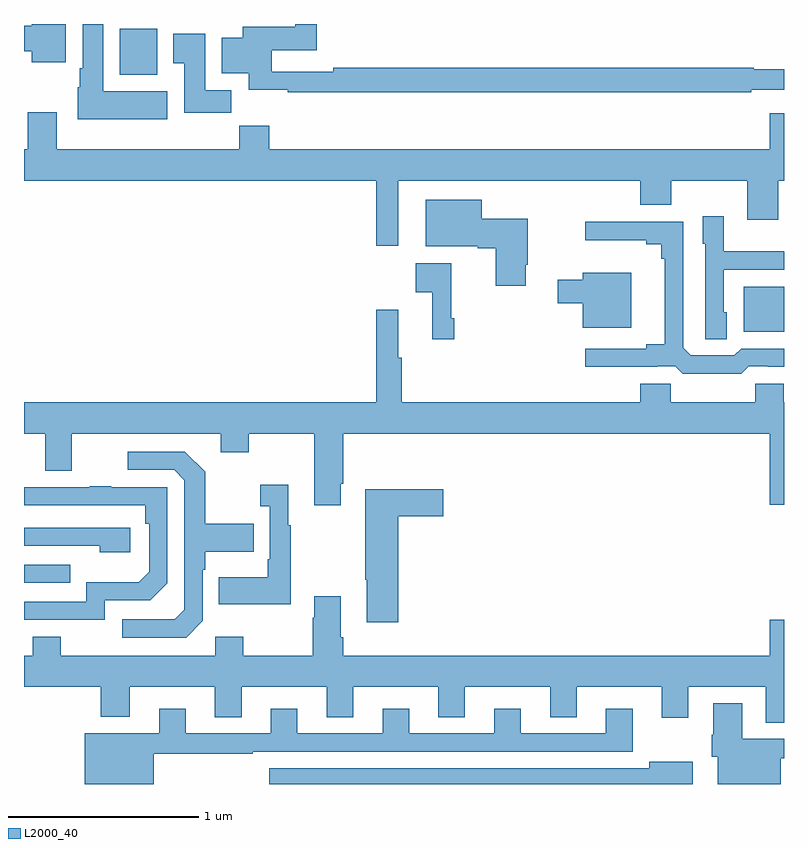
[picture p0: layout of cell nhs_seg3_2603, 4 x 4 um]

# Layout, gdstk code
import gdstk
lib = gdstk.Library(unit=1e-6, precision=1e-09)
def R(c, l, rs):  # rectangles x0, y0, x1, y1
    for r in rs: c.add(gdstk.rectangle(r[:2], r[2:], *l))
def P(c, l, *ps):  # polygons
    for p in ps: c.add(gdstk.Polygon(p, *l))
L2000_40 = (2000, 40)

nhs_seg3_2603 = lib.new_cell('nhs_seg3_2603')
R(nhs_seg3_2603, L2000_40, [(245,705.459,245.243,705.555), (248.789,706.781,249,707.017), (245.504,708.134,245.701,708.376)])
P(nhs_seg3_2603, L2000_40, [(245.221,708.4),(245.042,708.4),(245.042,708.392),(245,708.392),(245,708.256),(245.042,708.256),(245.042,708.2),(245.221,708.2)],
  [(245.755,708.046),(245.416,708.046),(245.416,708.4),(245.309,708.4),(245.309,708.166),(245.294,708.166),(245.294,708.066),(245.282,708.066),(245.282,707.9),(245.755,707.9)],
  [(248.828,708.054),(249,708.054),(249,708.163),(248.842,708.163),(248.842,708.17),(246.628,708.17),(246.628,708.15),(246.305,708.15),(246.305,708.263),(246.541,708.263),(246.541,708.398),(246.428,708.398),(246.428,708.385),(246.152,708.385),(246.152,708.328),(246.041,708.328),(246.041,708.14),(246.182,708.14),(246.182,708.053),(246.388,708.053),(246.388,708.042),(248.828,708.042)],
  [(246.092,708.052),(245.953,708.052),(245.953,708.349),(245.786,708.349),(245.786,708.193),(245.843,708.193),(245.843,707.934),(246.092,707.934)],
  [(246.97,707.576),(248.243,707.576),(248.243,707.448),(248.407,707.448),(248.407,707.576),(248.807,707.576),(248.807,707.37),(248.971,707.37),(248.971,707.576),(249,707.576),(249,707.929),(248.924,707.929),(248.924,707.74),(246.29,707.74),(246.29,707.864),(246.133,707.864),(246.133,707.74),(245.173,707.74),(245.173,707.935),(245.021,707.935),(245.021,707.74),(245,707.74),(245,707.576),(246.853,707.576),(246.853,707.232),(246.97,707.232)],
  [(247.642,707.134),(247.65,707.134),(247.65,707.374),(247.408,707.374),(247.408,707.476),(247.115,707.476),(247.115,707.231),(247.388,707.231),(247.388,707.219),(247.484,707.219),(247.484,707.022),(247.642,707.022)],
  [(248.698,706.884),(248.682,706.884),(248.682,707.106),(249,707.106),(249,707.202),(248.999,707.202),(248.999,707.203),(248.682,707.203),(248.682,707.389),(248.573,707.389),(248.573,707.244),(248.586,707.244),(248.586,706.741),(248.698,706.741)],
  [(248.814,706.599),(248.914,706.599),(248.914,706.595),(249,706.595),(249,706.692),(248.775,706.692),(248.739,706.656),(248.508,706.656),(248.469,706.695),(248.469,707.358),(247.953,707.358),(247.953,707.261),(248.276,707.261),(248.276,707.242),(248.353,707.242),(248.353,707.165),(248.372,707.165),(248.372,706.715),(248.276,706.715),(248.276,706.692),(247.953,706.692),(247.953,706.595),(248.333,706.595),(248.333,706.599),(248.427,706.599),(248.467,706.56),(248.775,706.56)],
  [(247.265,706.852),(247.248,706.852),(247.248,707.14),(247.062,707.14),(247.062,706.988),(247.148,706.988),(247.148,706.74),(247.265,706.74)],
  [(248.197,707.092),(247.94,707.092),(247.94,707.053),(247.809,707.053),(247.809,706.931),(247.94,706.931),(247.94,706.802),(248.197,706.802)],
  [(246.667,705.979),(246.68,705.979),(246.68,706.244),(248.924,706.244),(248.924,705.87),(249,705.87),(249,706.408),(248.998,706.408),(248.998,706.506),(248.848,706.506),(248.848,706.408),(248.403,706.408),(248.403,706.506),(248.243,706.506),(248.243,706.408),(246.989,706.408),(246.989,706.644),(246.971,706.644),(246.971,706.897),(246.853,706.897),(246.853,706.408),(245,706.408),(245,706.244),(245.111,706.244),(245.111,706.05),(245.251,706.05),(245.251,706.244),(246.035,706.244),(246.035,706.145),(246.183,706.145),(246.183,706.244),(246.527,706.244),(246.527,705.867),(246.667,705.867)],
  [(245.94,705.258),(245.94,705.527),(245.953,705.527),(245.953,705.623),(246.209,705.623),(246.209,705.771),(245.953,705.771),(245.953,706.043),(245.847,706.149),(245.547,706.149),(245.547,706.053),(245.79,706.053),(245.844,705.999),(245.844,705.318),(245.793,705.267),(245.517,705.267),(245.517,705.171),(245.853,705.171)],
  [(246.403,705.763),(246.391,705.763),(246.391,705.976),(246.243,705.976),(246.243,705.863),(246.294,705.863),(246.294,705.583),(246.282,705.583),(246.282,705.487),(246.025,705.487),(246.025,705.347),(246.403,705.347)],
  [(245.424,705.366),(245.664,705.366),(245.754,705.456),(245.754,705.963),(245.459,705.963),(245.459,705.968),(245.347,705.968),(245.347,705.963),(245,705.963),(245,705.867),(245.638,705.867),(245.638,705.77),(245.658,705.77),(245.658,705.516),(245.605,705.463),(245.328,705.463),(245.328,705.36),(245,705.36),(245,705.264),(245.424,705.264)],
  [(246.971,705.809),(247.207,705.809),(247.207,705.951),(246.796,705.951),(246.796,705.475),(246.803,705.475),(246.803,705.252),(246.971,705.252)],
  [(245.56,705.75),(245,705.75),(245,705.654),(245.399,705.654),(245.399,705.62),(245.56,705.62)],
  [(249,705.265),(248.924,705.265),(248.924,705.076),(246.68,705.076),(246.68,705.172),(246.667,705.172),(246.667,705.388),(246.527,705.388),(246.527,705.275),(246.52,705.275),(246.52,705.076),(246.153,705.076),(246.153,705.175),(246.006,705.175),(246.006,705.076),(245.193,705.076),(245.193,705.175),(245.045,705.175),(245.045,705.076),(245,705.076),(245,704.912),(245.405,704.912),(245.405,704.753),(245.557,704.753),(245.557,704.912),(246.005,704.912),(246.005,704.752),(246.145,704.752),(246.145,704.912),(246.593,704.912),(246.593,704.752),(246.733,704.752),(246.733,704.912),(247.181,704.912),(247.181,704.752),(247.321,704.752),(247.321,704.912),(247.769,704.912),(247.769,704.752),(247.909,704.752),(247.909,704.912),(248.357,704.912),(248.357,704.748),(248.497,704.748),(248.497,704.912),(248.903,704.912),(248.903,704.722),(249,704.722)],
  [(248.983,704.536),(249,704.536),(249,704.637),(248.779,704.637),(248.779,704.824),(248.627,704.824),(248.627,704.66),(248.62,704.66),(248.62,704.544),(248.651,704.544),(248.651,704.4),(248.983,704.4)],
  [(245.683,704.559),(246.203,704.559),(246.203,704.571),(248.203,704.571),(248.203,704.797),(248.063,704.797),(248.063,704.667),(247.615,704.667),(247.615,704.797),(247.475,704.797),(247.475,704.667),(247.027,704.667),(247.027,704.797),(246.887,704.797),(246.887,704.667),(246.439,704.667),(246.439,704.797),(246.299,704.797),(246.299,704.667),(245.851,704.667),(245.851,704.797),(245.711,704.797),(245.711,704.668),(245.321,704.668),(245.321,704.4),(245.683,704.4)],
  [(248.521,704.518),(248.291,704.518),(248.291,704.482),(246.291,704.482),(246.291,704.4),(248.521,704.4)])

lib.write_gds('nhs_seg3_2603.gds')
